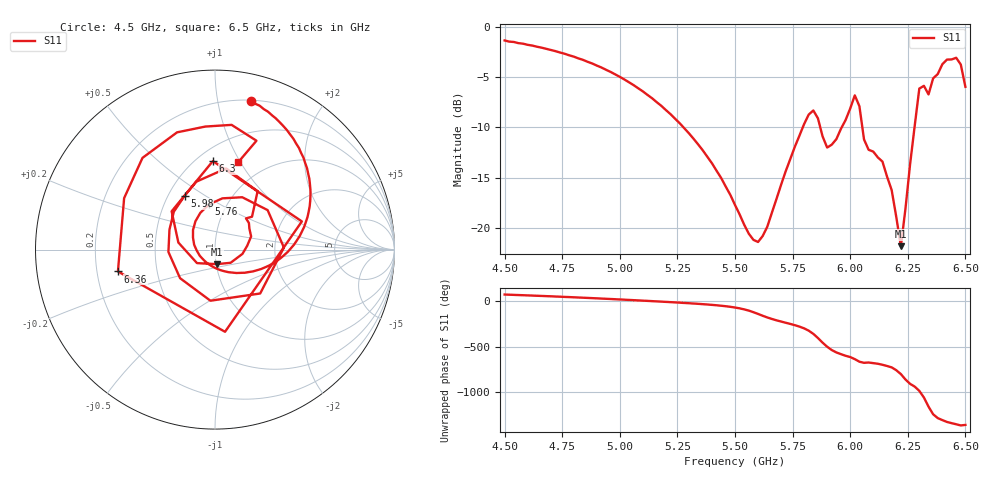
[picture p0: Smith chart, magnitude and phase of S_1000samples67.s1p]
! TOUCHSTONE file generated by CST MICROWAVE STUDIO
! Date and time: Wed Oct 26 21:13:18 2022
! Project name: L.cst
! Parameters = {Di=1.27; Epsilon_r=1.56; InnerDiameter=1.27; Length=2; Lf=10; Lg=60; OuterConductorThickness=0.2921; OuterDiameter=3.6; Wf=3; Wp=41.2; de=1.5; df=6.8; g=0.8; gx=2.191; gy=2.97826; h=2.34; hf=1.524; px=13.0593; py=14.5129; w=9.7; wx=10.8683; wy=11.5346}
! Header version: 2018
! Port assignment regex: !\s*Touchstone port\s*([0-9]+)\s*=\s*(CST MWS port|CST DS port)\s*([0-9]+|Zmin|Zmax)\s*\(\"(.*)\"\)(\s*mode\s*([0-9]+))?.*
! Touchstone port assignment:
! Touchstone port 1 = CST MWS port 1 ("")
# GHz S DB R 50
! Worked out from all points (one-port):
!   101 points, 4.5 GHz to 6.5 GHz, reference 50 ohm
!   lowest |S11| = -21.8 dB at 6.22 GHz (marker M1), VSWR 1.18, Z = 50.3 - j8.2 ohm
!   |S11| at or under -10 dB: 5.277 GHz to 5.794 GHz (517.1 MHz wide, 9.34 % of centre); 5.87 GHz to 5.963 GHz (92.67 MHz wide, 1.57 % of centre); 6.053 GHz to 6.279 GHz (226.3 MHz wide, 3.67 % of centre)
!   S11 on the Smith chart (normalised r, x): 4.5 GHz: 0.20, +1.25; 5.76 GHz: 0.83, +0.45; 5.98 GHz: 0.60, +0.41; 6.3 GHz: 0.60, +0.78; 6.36 GHz: 0.29, -0.10; 6.5 GHz: 0.75, +0.98
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4.5  -1.37 76.4
4.76  -2.68 50.4
5  -4.98 22.1
5.26  -9.58 -13.4
5.5  -17.69 -67.1
5.6  -21.36 -137.6
5.76  -11.90 97.5
5.8  -9.66 62.5
5.84  -8.31 1.7
5.86  -9.10 -44.2
5.88  -10.87 -95.1
5.92  -11.70 -177.1
5.98  -9.26 119.5
6  -8.12 105.4
6.04  -7.89 53.9
6.06  -11.19 41.6
6.18  -16.20 -8.9
6.22  -21.77 -83.1
6.26  -13.64 169.1
6.28  -9.84 138.6
6.3  -6.14 91.4
6.32  -5.87 18.0
6.34  -6.72 -83.0
6.36  -5.12 -167.3
6.38  -4.70 150.5
6.42  -3.27 107.9
6.48  -3.75 69.1
6.5  -5.97 75.1
